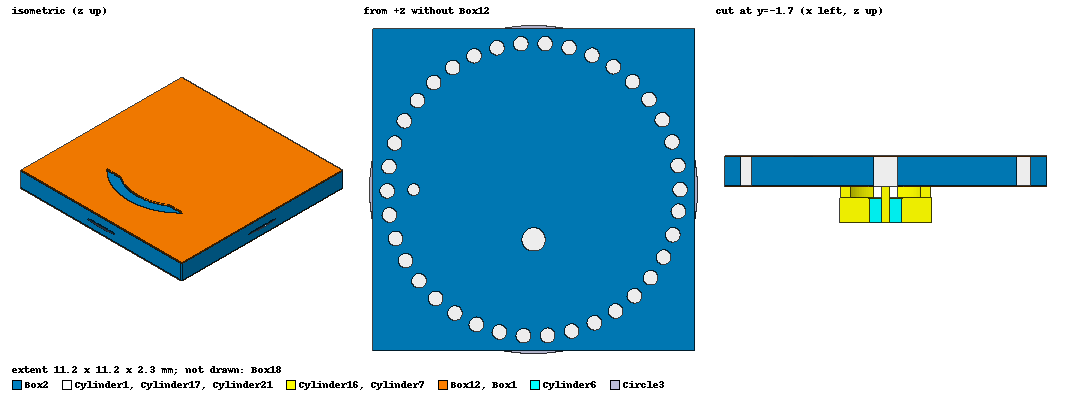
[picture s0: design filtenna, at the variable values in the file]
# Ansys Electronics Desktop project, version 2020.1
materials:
  vacuum: permittivity=1
  copper: permeability=0.999991 conductivity=58000000
  Rogers RO4003 (tm): permittivity=3.55 dielectric_loss_tangent=0.0027
  FR-27: permittivity=2.77
  pec: conductivity=1e+30
  air: permittivity=1.0006 permeability=1.0000004
  Rogers RT/duroid 5880 (tm): permittivity=2.2 dielectric_loss_tangent=0.0009
  Rogers RT/duroid 6006 (tm): permittivity=6.15 dielectric_loss_tangent=0.0019
  jiezhi: permittivity=2.3
  Rogers RO3003 (tm): permittivity=3 dielectric_loss_tangent=0.0013
  Rogers RO4350 (tm): permittivity=3.66 dielectric_loss_tangent=0.004
  FR4_epoxy: permittivity=4.4 dielectric_loss_tangent=0.02
  Rogers RT/duroid 6010/6010LM (tm): permittivity=10.2 dielectric_loss_tangent=0.0023
  brass: conductivity=15000000
  teflon_based: permittivity=2.08 dielectric_loss_tangent=0.001
  NEW: permittivity=1.3
  Material1: permittivity=3.55

design filtenna (HFSS, DrivenModal, model units mm)
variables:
  t = 0.035mm
  sub_w = 11mm
  sub_l = 11mm
  h0 = 1mm
  rvia = 0.25mm
  dvia = 5mm  # 3
  pl = 3.2mm  # 2.6
  pl1 = 3.2mm  # 2.9
  sl = 4.8mm
  sw = 0.65mm
  sd = 0mm
  h = 0mm
  hp1 = (4.3*4) mil
  h1 = 1.524mm
  wslot = 0.5mm
  lsolt = 3.2mm
  dslot = 1.3mm
  ssmp_h3 = 0.0508mm
  ssmp_w1 = 0.8128mm
  ssmp_r5 = 1.27mm
  ssmp_r1 = (3.175/2) mm
  ssmp_h1 = 0.8226mm
  ssmp_h0 = 1.23mm
  ssmp_r3 = (1.1176/2) mm
  ssmp_r4 = (1.2192/2) mm
  ssmp_r2 = (1.0668/2) mm
  ssmp_h2 = 0.0287mm
  ssmp_r6 = 0.1524mm
  ds = -1.7mm  # -1.7
  r1 = 0.4mm
  rc = 0.6mm
  s = 0.3mm
  s1 = 0.1mm
  pl2 = 1.3mm
  pw3 = 1.1mm
  r2 = 0.75mm
  s2 = 0.15mm
  ws = 0.2mm
  ra = 3mm  # 3
  rb = 3.6mm  # 3.6
  w1 = 5mm
  rd = 0.15mm
  d1mm = 4.1mm
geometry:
  Box1 [copper] = box(corner=(-sub_l/2, -sub_w/2, 0mm), size=(sub_l, sub_w, t))
  Box2 [Rogers RO4003 (tm)] = box(corner=(-sub_l/2, -sub_w/2, t+h), size=(sub_l, sub_w, h0))
  Box3 = box(corner=(-sub_l/2, -sub_w/2, t+h0), size=(sub_l, sub_w, t))
  Cylinder1 [copper] = cylinder(axis=Z, base_centre=(dvia, 0, t), radius=rvia, height=h0)
  Box12 [copper] = box(corner=(-sl/2, -sw/2-sd, t+h0), size=(sl, sw, t))
  Box12_1 = Box12.duplicate_around_axis(axis=Z, angle=-90deg, total=2)
  Box12.unite(Box12_1, Box3)
  Box12.move(0mm, 0mm, 2*h)
  Cylinder16 [copper] = cylinder(axis=Z, base_centre=(0mm, 0mm, -ssmp_h0), radius=ssmp_r1, height=ssmp_h0)
  Cone1 = cone(axis=Z, base_centre=(0mm, 0mm, -ssmp_h0+ssmp_h1), bottom_radius=ssmp_r3, top_radius=ssmp_r4, height=ssmp_h3)
  Cylinder2 = cylinder(axis=Z, base_centre=(0mm, 0mm, -ssmp_h0), radius=ssmp_r2, height=ssmp_h1)
  Cylinder4 = cylinder(axis=Z, base_centre=(0mm, 0mm, -ssmp_h0+ssmp_h1-ssmp_h2), radius=ssmp_r3, height=ssmp_h2)
  Cylinder5 = cylinder(axis=Z, base_centre=(0mm, 0mm, -ssmp_h0+ssmp_h1+ssmp_h3), radius=ssmp_r5, height=ssmp_h0-ssmp_h1-ssmp_h3)
  Cylinder16.subtract(Cone1, Cylinder2, Cylinder4, Cylinder5)
  Box17 = box(corner=(-ssmp_w1/2, -ssmp_r1, -ssmp_h0+ssmp_h1+ssmp_h3), size=(ssmp_w1, ssmp_r1*2, ssmp_h0-ssmp_h1-ssmp_h3))
  Box1_1 = Box17.duplicate_around_axis(axis=Z, angle=90deg, total=2)
  Cylinder16.subtract(Box17, Box1_1)
  Cylinder6 [jiezhi] = cylinder(axis=Z, base_centre=(0mm, 0mm, -ssmp_h0), radius=ssmp_r2, height=ssmp_h1)
  Cylinder3 = cylinder(axis=Z, base_centre=(0mm, 0mm, -ssmp_h0), radius=ssmp_r6, height=ssmp_h0)
  Cylinder6.subtract(Cylinder3)
  Cylinder7 [copper] = cylinder(axis=Z, base_centre=(0mm, 0mm, -ssmp_h0), radius=ssmp_r6, height=ssmp_h0)
  [Cylinder16, Cylinder6, Cylinder7].move(0mm, ds, 0mm)
  Cylinder17 [copper] = cylinder(axis=Z, base_centre=(0mm, ds, 0mm), radius=r1, height=h0+t)
  Cylinder18 = cylinder(axis=Z, base_centre=(0mm, ds, 0mm), radius=rc, height=t)
  Box1.subtract(Cylinder18)
  Cylinder17_1 = Cylinder17.duplicate_around_axis(axis=Z, angle=0deg, total=2)
  Cylinder17_1_1 = Cylinder17_1.copy()
  Box1.subtract(Cylinder17_1_1)
  Box2.subtract(Cylinder17_1)
  Box18 [air] = box(corner=(-sub_l*0.6, -sub_w*0.6, -ssmp_h0), size=(sub_l*1.2, sub_w*1.2, h0*5))
  Circle1 = circle(normal=Z, centre=(0mm, ds, -ssmp_h0), radius=ssmp_r2)
  Cylinder1.duplicate_around_axis(axis=Z, angle=9.5deg, total=38, attached)
  Cylinder19 = cylinder(axis=Z, base_centre=(0, 0, t+h0), radius=ra, height=t)
  Cylinder20 = cylinder(axis=Z, base_centre=(0mm, 0mm, t+h0), radius=rb, height=t)
  Cylinder20.subtract(Cylinder19)
  Box19 = box(corner=(-w1/2, -sub_w/2, t+h0), size=(w1, sub_w, t))
  Cylinder20.subtract(Box19)
  Cylinder20.split(plane=YZ, keep=PositiveOnly)
  Box12.subtract(Cylinder20)
  Cylinder21 [copper] = cylinder(axis=Z, base_centre=(-d1mm, 0mm, t), radius=0.2mm, height=h0)
  Circle2 = circle(normal=Z, centre=(0mm, 0mm, 0.5mm), radius=5.6mm)
  Circle3 = circle(normal=Z, centre=(0mm, 0mm, 0.5mm), radius=5.6mm)
  group Cylinder_Group = Cylinder16, Cylinder6, Cylinder7
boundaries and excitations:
  Rad1: Radiation Objects=Box18
  1: Wave Port Objects=Circle1 NumModes=1 Modes{Mode1{IntLine{centre of Circle1.face -> Circle1.vertex(1 of 1)} CharImp=Zpi}}
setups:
  Setup5: HfssDriven Frequency=26GHz MaxDeltaS=0.02 MaximumPasses=20 MinimumPasses=1 MinimumConvergedPasses=1 PercentRefinement=30 BasisOrder=1 PortAccuracy=2
    sweep Sweep: 20GHz to 34GHz, 150 points; Type=Discrete SaveFields
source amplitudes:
  1:1: 1W 0deg
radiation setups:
  Infinite Sphere1: Infinite Sphere Theta=-180deg..180deg step 1deg Phi=0deg..90deg step 90deg
  Infinite Sphere2: Infinite Sphere Theta=0deg..0deg step 0deg Phi=90deg..90deg step 0deg
  Infinite Sphere3: Infinite Sphere Theta=-180deg..181deg step 2deg Phi=-180deg..181deg step 2deg
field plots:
  Mag_E1: E Field over Circle3.face on Setup5 : Sweep at Freq=19.6913GHz Phase=15deg
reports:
  S Parameter Plot 1: dB(S(1,1)) vs Freq on Setup5 : Sweep; markers m2 at 26.671141GHz, m3 at 28.550336GHz, m4 at 34.265823GHz, m5 at 27.234899GHz, MY1 at y=-10
  Realized Gain Plot 1: dB(RealizedGainTotal) vs Freq on Setup5 : Sweep, Infinite Sphere2 [Phi=all Theta=all]; markers m1 at 20.187919GHz, m2 at 34.308725GHz, m3 at 28.153846GHz, m4 at 19.691275GHz, m5 at 26.85906GHz, m6 at 21.221477GHz, m7 at 30.42953GHz, m8 at 33.90604GHz
  Z Parameter Plot 1: re(Z(1,1)) vs Freq on Setup5 : Sweep; markers m1 at 24.367089GHz, m2 at 28.832215GHz, m3 at 27.14094GHz
  Realized Gain Plot 4: dB(RealizedGainTotal) vs Theta on Setup5 : Sweep, Infinite Sphere1 [Phi=all Freq=30.5235GHz]
  Realized Gain Plot 5: dB(RealizedGainTotal) vs Theta on Setup5 : Sweep, Infinite Sphere1 [Phi=all Freq=34GHz]; markers m1 at 43.5deg
  Gain Plot 1: dB(RealizedGainTotal) vs Theta on Setup5 : Sweep, Infinite Sphere1 [Phi=all Freq=21.1275GHz]
  Realized Gain Plot 6: dB(RealizedGainTotal) vs Theta on Setup5 : Sweep, Infinite Sphere1 [Phi=all Freq=40.3797GHz]
  Gain Plot 2: dB(RealizedGainTotal) vs Phi, Theta on Setup5 : Sweep, Infinite Sphere3 [Freq=20.1879GHz]
  Realized Gain Plot 7: dB(RealizedGainTotal) vs Phi, Theta on Setup5 : Sweep, Infinite Sphere3 [Freq=21.2215GHz]
  Realized Gain Plot 8: dB(RealizedGainTotal) vs Phi, Theta on Setup5 : Sweep, Infinite Sphere3 [Freq=30.4295GHz]
  Realized Gain Plot 9: dB(RealizedGainTotal) vs Phi, Theta on Setup5 : Sweep, Infinite Sphere3 [Freq=33.906GHz]
  Realized Gain Plot 10: dB(RealizedGainPhi), dB(RealizedGainTheta) vs Theta on Setup5 : Sweep, Infinite Sphere1 [Phi=all Freq=27.047GHz]; markers m1 at 50deg, m2 at 45deg
  Realized Gain Plot 11: dB(RealizedGainTheta), dB(RealizedGainPhi) vs Theta on Setup5 : Sweep, Infinite Sphere1 [Phi=all Freq=28.0805GHz]
  Antenna Params Plot 1: RadiationEfficiency vs Freq on Setup5 : Sweep; markers m1 at 26.483221GHz, m2 at 26.85906GHz, m3 at 27.516779GHz
  Group Delay Plot 1: GroupDelay(1,1) vs Freq on Setup5 : Sweep; markers m1 at 27.328859GHz
  Directivity Plot 1: dB(DirTotal) vs Freq on Setup5 : Sweep, Infinite Sphere2 [Phi=all Theta=all]
  Antenna Params Plot 2: dB(PeakDirectivity) vs Freq on Setup5 : Sweep
  Antenna Params Plot 3: PeakRealizedGain vs Freq on Setup5 : Sweep; markers m1 at 26.577181GHz, m2 at 25.825503GHz, m3 at 28.080537GHz
  Antenna Params Plot 4: dB(PeakRealizedGain) vs Freq on Setup5 : Sweep
  Antenna Params Plot 5: PeakDirectivity vs Freq on Setup5 : Sweep; markers m1 at 27.04698GHz, m2 at 25.919463GHz, m3 at 22.724832GHz, m4 at 22.161074GHz, m5 at 30.61745GHz, m6 at 28.644295GHz
